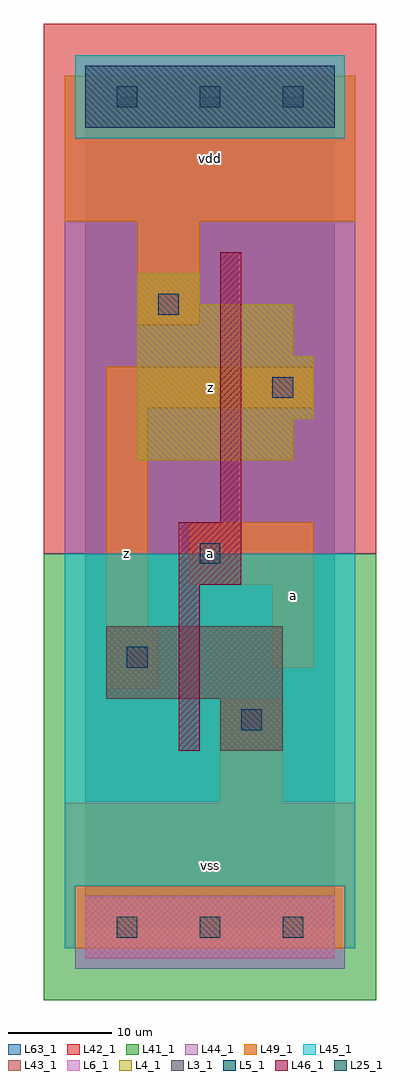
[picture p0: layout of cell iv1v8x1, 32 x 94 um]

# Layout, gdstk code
import gdstk
lib = gdstk.Library(unit=1e-6, precision=1e-09)
def R(c, l, rs):  # rectangles x0, y0, x1, y1
    for r in rs: c.add(gdstk.rectangle(r[:2], r[2:], *l))
def A(c, l, x, y, w, h, nx, ny, dx, dy):  # array of equal rectangles
    R(c, l, [(x+i*dx, y+j*dy, x+i*dx+w, y+j*dy+h) for i in range(nx) for j in range(ny)])
L3_1 = (3, 1)
L4_1 = (4, 1)
L5_1 = (5, 1)
L6_1 = (6, 1)
L25_1 = (25, 1)
L41_1 = (41, 1)
L42_1 = (42, 1)
L43_1 = (43, 1)
L44_1 = (44, 1)
L45_1 = (45, 1)
L46_1 = (46, 1)
L49_1 = (49, 1)
L63_1 = (63, 1)

iv1v8x1 = lib.new_cell('iv1v8x1')
R(iv1v8x1, L3_1, [(13,17,19,22), (2,22,19,29)])
R(iv1v8x1, L4_1, [(5,45,20,49), (5,49,22,55), (5,55,20,60), (5,60,11,63)])
R(iv1v8x1, L5_1, [(0,77,24,83)])
R(iv1v8x1, L6_1, [(0,-3,24,3), (0,-3,24,3)])
A(iv1v8x1, L25_1, 3, -1, 2, 2, 3, 2, 8, 80)
R(iv1v8x1, L25_1, [(15,19,17,21), (4,25,6,27), (11,35,13,37), (18,51,20,53), (7,59,9,61)])
R(iv1v8x1, L41_1, [(-4,-7,28,36)])
R(iv1v8x1, L42_1, [(-4,36,28,87)])
R(iv1v8x1, L43_1, [(0,-3,24,3), (13,17,19,22), (2,22,19,29), (5,45,20,49), (5,49,22,55), (5,55,20,60), (5,60,11,63), (0,77,24,83)])
R(iv1v8x1, L44_1, [(-1,-4,25,4), (-2,36,26,76), (-2,76,-1,82), (25,76,26,82)])
R(iv1v8x1, L45_1, [(-2,-2,-1,4), (25,-2,26,4), (-2,4,26,36), (-1,76,25,84)])
R(iv1v8x1, L46_1, [(9,17,11,33), (9,33,15,39), (13,39,15,65)])
R(iv1v8x1, L49_1, [(-2,-2,26,12), (13,12,19,22), (2,23,7,29), (18,25,22,33), (2,29,6,50), (10,33,22,39), (2,50,22,54), (5,58,11,68), (-2,68,26,82)])
R(iv1v8x1, L63_1, [(0,0,24,80)])
iv1v8x1.add(gdstk.Label('z', (4,36), layer=49, texttype=1))
iv1v8x1.add(gdstk.Label('vss', (12,6), layer=49, texttype=1))
iv1v8x1.add(gdstk.Label('a', (12,36), layer=49, texttype=1))
iv1v8x1.add(gdstk.Label('z', (12,52), layer=49, texttype=1))
iv1v8x1.add(gdstk.Label('vdd', (12,74), layer=49, texttype=1))
iv1v8x1.add(gdstk.Label('a', (20,32), layer=49, texttype=1))

lib.write_gds('iv1v8x1.gds')
